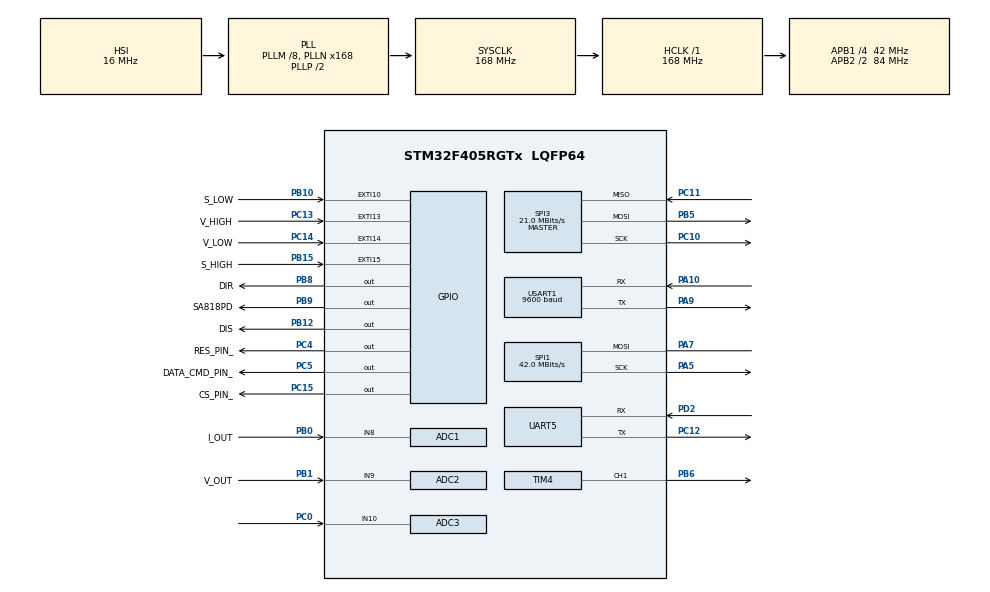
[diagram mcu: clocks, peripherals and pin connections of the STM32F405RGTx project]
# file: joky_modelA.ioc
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ADC1.Channel-1\#ChannelRegularConversion=ADC_CHANNEL_8
ADC1.NbrOfConversionFlag=1
ADC1.Rank-1\#ChannelRegularConversion=1
ADC1.SamplingTime-1\#ChannelRegularConversion=ADC_SAMPLETIME_3CYCLES
ADC1.master=1
ADC2.Channel-1\#ChannelRegularConversion=ADC_CHANNEL_9
ADC2.ClockPrescaler=ADC_CLOCK_SYNC_PCLK_DIV4
ADC2.NbrOfConversionFlag=1
ADC2.Rank-1\#ChannelRegularConversion=1
ADC2.SamplingTime-1\#ChannelRegularConversion=ADC_SAMPLETIME_3CYCLES
ADC3.Channel-1\#ChannelRegularConversion=ADC_CHANNEL_10
ADC3.NbrOfConversionFlag=1
ADC3.Rank-1\#ChannelRegularConversion=1
ADC3.SamplingTime-1\#ChannelRegularConversion=ADC_SAMPLETIME_3CYCLES
Mcu.Family=STM32F4
Mcu.Name=STM32F405RGTx
Mcu.Package=LQFP64
NVIC.EXTI15_10_IRQn=true\:0\:0\:false\:false\:true\:true\:true\:true
NVIC.PriorityGroup=NVIC_PRIORITYGROUP_4
NVIC.TIM2_IRQn=true\:0\:0\:false\:false\:true\:true\:true\:true
PA10.Mode=Asynchronous
PA10.Signal=USART1_RX
PA5.Mode=Simplex_Bidirectional_Master
PA5.Signal=SPI1_SCK
PA7.Mode=Simplex_Bidirectional_Master
PA7.Signal=SPI1_MOSI
PA9.Mode=Asynchronous
PA9.Signal=USART1_TX
PB0.GPIO_Label=I_OUT
PB0.Signal=ADCx_IN8
PB1.GPIO_Label=V_OUT
PB1.Signal=ADCx_IN9
PB10.GPIO_Label=S_LOW
PB10.Signal=GPXTI10
PB12.GPIO_Label=DIS
PB12.Signal=GPIO_Output
PB15.GPIO_Label=S_HIGH
PB15.Signal=GPXTI15
PB5.Mode=Full_Duplex_Master
PB5.Signal=SPI3_MOSI
PB6.Signal=S_TIM4_CH1
PB8.GPIO_Label=DIR
PB8.Signal=GPIO_Output
PB9.GPIO_Label=SA818PD
PB9.Signal=GPIO_Output
PC0.Signal=ADCx_IN10
PC10.Mode=Full_Duplex_Master
PC10.Signal=SPI3_SCK
PC11.Mode=Full_Duplex_Master
PC11.Signal=SPI3_MISO
PC12.Mode=Asynchronous
PC12.Signal=UART5_TX
PC13-ANTI_TAMP.GPIO_Label=V_HIGH
PC13-ANTI_TAMP.Signal=GPXTI13
PC14-OSC32_IN.GPIO_Label=V_LOW
PC14-OSC32_IN.Signal=GPXTI14
PC15-OSC32_OUT.GPIO_Label=CS_PIN_
PC15-OSC32_OUT.Signal=GPIO_Output
PC4.GPIO_Label=RES_PIN_
PC4.Signal=GPIO_Output
PC5.GPIO_Label=DATA_CMD_PIN_
PC5.Signal=GPIO_Output
PD2.Mode=Asynchronous
PD2.Signal=UART5_RX
ProjectManager.HeapSize=0x200
ProjectManager.StackSize=0x400
ProjectManager.TargetToolchain=STM32CubeIDE
RCC.48MHZClocksFreq_Value=84000000
RCC.AHBFreq_Value=168000000
RCC.APB1CLKDivider=RCC_HCLK_DIV4
RCC.APB1Freq_Value=42000000
RCC.APB1TimFreq_Value=84000000
RCC.APB2CLKDivider=RCC_HCLK_DIV2
RCC.APB2Freq_Value=84000000
RCC.APB2TimFreq_Value=168000000
RCC.CortexFreq_Value=168000000
RCC.HCLKFreq_Value=168000000
RCC.HSE_VALUE=25000000
RCC.HSI_VALUE=16000000
RCC.LSE_VALUE=32768
RCC.PLLM=8
RCC.PLLN=168
RCC.SYSCLKFreq_VALUE=168000000
RCC.SYSCLKSource=RCC_SYSCLKSOURCE_PLLCLK
RCC.VCOOutputFreq_Value=336000000
RCC.VDD_VALUE=3.3
SH.ADCx_IN10.0=ADC3_IN10,IN10
SH.ADCx_IN8.0=ADC1_IN8,IN8
SH.ADCx_IN9.0=ADC2_IN9,IN9
SH.S_TIM4_CH1.0=TIM4_CH1,PWM Generation1 CH1
SPI1.CalculateBaudRate=42.0 MBits/s
SPI1.Direction=SPI_DIRECTION_1LINE
SPI1.Mode=SPI_MODE_MASTER
SPI1.VirtualType=VM_MASTER
SPI3.BaudRatePrescaler=SPI_BAUDRATEPRESCALER_2
SPI3.CalculateBaudRate=21.0 MBits/s
SPI3.Direction=SPI_DIRECTION_2LINES
SPI3.Mode=SPI_MODE_MASTER
SPI3.VirtualType=VM_MASTER
TIM2.Period=50000
TIM2.Prescaler=18600
TIM4.Channel-PWM\ Generation1\ CH1=TIM_CHANNEL_1
TIM4.Period=255
TIM4.Prescaler=33-1
UART5.VirtualMode=Asynchronous
USART1.BaudRate=9600
USART1.VirtualMode=VM_ASYNC
VP_TIM2_VS_ClockSourceINT.Mode=Internal
board=custom

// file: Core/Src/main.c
/* USER CODE BEGIN Header */
/**
  ******************************************************************************
  * @file           : main.c
  * @brief          : Main program body
  ******************************************************************************
  * @attention
  *
  * Copyright (c) 2025 STMicroelectronics.
  * All rights reserved.
  *
  * This software is licensed under terms that can be found in the LICENSE file
  * in the root directory of this software component.
  * If no LICENSE file comes with this software, it is provided AS-IS.
  *
  ******************************************************************************
  */
/* USER CODE END Header */
#include "main.h"

/* USER CODE BEGIN Includes */
#include "SSD1309.h"
#include "tle9201.h"
#include "sa818s.h"
#include "string.h"
#include "ryrl898.h"
/* USER CODE END Includes */

/* USER CODE BEGIN PM */
#define BATTERY_CAPACITY_AH       2.5f       // 2500 mAh
#define ADC_VREF_VOLTAGE          3.3f       // Reference voltage of ADC
#define ADC_RESOLUTION            4096.0f    // 12-bit ADC
#define VCC_VOLTAGE               3.3f       // ACS712 supply voltage
#define ACS712_SENSITIVITY        0.100f     // V/A for ACS712-20A (100 mV/A)
#define ACS712_OFFSET_VOLTAGE     (VCC_VOLTAGE/2.0f) // zero current voltage
#define TIM2_TICK_PERIOD_S        1.0f       // Timer callback period in seconds

/* USER CODE END PM */

ADC_HandleTypeDef hadc1;
ADC_HandleTypeDef hadc2;
ADC_HandleTypeDef hadc3;

SPI_HandleTypeDef hspi1;
SPI_HandleTypeDef hspi3;

TIM_HandleTypeDef htim2;
TIM_HandleTypeDef htim4;

UART_HandleTypeDef huart5;
UART_HandleTypeDef huart1;

uint8_t soc_joky;
float ACS712_Current;
float ACS712_Voltage;
/* USER CODE BEGIN PV */

unsigned char devcode[] = "devcode:0x00";
unsigned char speed1[] = "speed xx V";
unsigned char speed2[] = "speed xx V";
unsigned char speed3[] = "speed xx V";
uint8_t motor_pwm_speed = 255;
uint8_t walkie_talkie_volume = 1; // Default volume level

/* USER CODE END PV */

void SystemClock_Config(void);
static void MX_GPIO_Init(void);
static void MX_ADC1_Init(void);
static void MX_ADC2_Init(void);
static void MX_UART5_Init(void);
static void MX_USART1_UART_Init(void);
static void MX_TIM2_Init(void);
static void MX_SPI3_Init(void);
static void MX_TIM4_Init(void);
static void MX_SPI1_Init(void);
static void MX_ADC3_Init(void);

/* USER CODE BEGIN 0 */
//void HAL_GPIO_EXTI_Callback(uint16_t GPIO_Pin)
//{
//    if(GPIO_Pin == GPIO_PIN_10)  // Check which pin triggered the EXTI
//    {
//    	//exti10 for speed low
//    	if(motor_pwm_speed > 100){
//    		motor_pwm_speed -= 15;
//    		TLE9201_SetSpeed(motor_pwm_speed);
//    	}
//
//    }
//    else if (GPIO_Pin == GPIO_PIN_15){
//    	//exti15 for speed high
//    	if (motor_pwm_speed <=(255-16)){
//    		motor_pwm_speed += 15;
//    		TLE9201_SetSpeed(motor_pwm_speed);
//    	}
//
//    }
//    else if(GPIO_Pin == GPIO_PIN_13){
//    	if(walkie_talkie_volume < 4){
//    		walkie_talkie_volume++;
//    		SA818S_SetVolume(walkie_talkie_volume);
//    	}
//
//    	//exti13 for sound volume high
//    }
//    else if(GPIO_Pin == GPIO_PIN_14){
//
//    	//exti14 for sound volume low
//    	if(walkie_talkie_volume >1){
//    		walkie_talkie_volume--;
//    		SA818S_SetVolume(walkie_talkie_volume);
//    	}
//    }
//
//}
void HAL_TIM_PeriodElapsedCallback(TIM_HandleTypeDef *htim)
{
    if (htim->Instance == TIM2)  // Check if the interrupt comes from TIM2
    {
        //HAL_GPIO_TogglePin(GPIOA, GPIO_PIN_5);  // Toggle LED on PA5
        //OLED update

      //calculate soc each 1 sec
    	// static uint8_t soc_temp;
    	// static float Remain_Cap = Total_Cap;
    	// ACS712_Current = (((HAL_ADC_GetValue(&hadc1)) - (Vcc/2)) / ACS712_Sensitivity);
    	// Remain_Cap += ACS712_Current;
    	// soc_joky = (Remain_Cap / Total_Cap) * 100;
    	// if(soc_joky != soc_temp)
    	// {
    		//Send the soc_joky only if it changed from the previous iteration.
        //....

    	// }

    	// soc_temp = soc_joky;
      // WriteText(1, 4, speed3);
      /*========================================================*/
              // Battery SOC calculation
        static float Remain_Cap = BATTERY_CAPACITY_AH; // assume full at boot
        static uint8_t soc_rc_temp = 255;              // force first update
        static uint8_t soc_joky_temp = 255;

        // Read current from ADC
        HAL_ADC_Start(&hadc1);
        HAL_ADC_PollForConversion(&hadc1, 10);
        uint16_t adc_val = HAL_ADC_GetValue(&hadc1);
        HAL_ADC_Stop(&hadc1);

        ACS712_Voltage = ((adc_val * ADC_VREF_VOLTAGE) / ADC_RESOLUTION);
        ACS712_Current = (ACS712_Voltage - ACS712_OFFSET_VOLTAGE) / ACS712_SENSITIVITY;

        // Integrate current to calculate remaining capacity (Ah)
        float delta_Ah = ACS712_Current * (TIM2_TICK_PERIOD_S / 3600.0f);
        Remain_Cap += delta_Ah;

        // Clamp capacity
        if(Remain_Cap > BATTERY_CAPACITY_AH) Remain_Cap = BATTERY_CAPACITY_AH;
        if(Remain_Cap < 0.0f) Remain_Cap = 0.0f;

        soc_joky = (Remain_Cap / BATTERY_CAPACITY_AH) * 100.0f;

    }
}

/* USER CODE END 0 */

int main(void)
{

  /* MCU Configuration--------------------------------------------------------*/

  /* Reset of all peripherals, Initializes the Flash interface and the Systick. */
  HAL_Init();

  /* Configure the system clock */
  SystemClock_Config();

  /* Initialize all configured peripherals */
  MX_GPIO_Init();
  MX_ADC1_Init();
  MX_ADC2_Init();
  MX_UART5_Init();
  MX_USART1_UART_Init();
  MX_TIM2_Init();
  MX_SPI3_Init();
  MX_TIM4_Init();
  MX_SPI1_Init();
  MX_ADC3_Init();

  /* USER CODE BEGIN 2 */
  TLE9201_Init();
  // SA818S_Init();
  lora_init();

  uint32_t adc_value;
  uint8_t cmd_received = 0;
//  uint8_t speed;

     // Start ADC
  HAL_ADC_Start(&hadc1);
  HAL_ADC_Start(&hadc2);
  HAL_ADC_Start(&hadc3);

  TLE9201_SetDirection(1);    // Forward
  TLE9201_SetSpeed(255);
  HAL_GPIO_WritePin(CS_PORT, CS_PIN, GPIO_PIN_SET);

  SSD1309_Reset();
  InitDisplay();
  ClearScreen();

  WriteText(1, 1, devcode);

  /* USER CODE END 2 */

  /* Infinite loop */
  while (1)
  {
	  HAL_ADC_PollForConversion(&hadc1, HAL_MAX_DELAY);
	          adc_value = HAL_ADC_GetValue(&hadc1);

	          // Divide ADC range into 3 equal sections
	          if (adc_value <= 1365) { // 0–1365 (4095/3)
	              WriteText(1, 2, speed1); // Speed 1
                TLE9201_SetSpeed(255); // Set speed to 255
              motor_pwm_speed = 255; // Set motor speed to maximum
	          } else if (adc_value <= 2730) { // 1366–2730
	        	  WriteText(1, 2, speed2); // Speed 2
              TLE9201_SetSpeed(200); // Set speed to 200
              motor_pwm_speed = 200; // Set motor speed to 200
	          } else { // 2731–4095
	        	  WriteText(1, 2, speed3); // Speed
              TLE9201_SetSpeed(170); // Set speed to 170
              motor_pwm_speed = 170; // Set motor speed to 170

	          }

//	  HAL_UART_Transmit(huart, pData, Size, Timeout)/
//      HAL_UART_Receive(&huart1, &uart_recive_buffer, 1, HAL_MAX_DELAY);  // Blocking receive
      cmd_received =lora_receive();
      lora_send_char(soc_joky);

      if (cmd_received == 'c') {
        TLE9201_SetSpeed(motor_pwm_speed); // Set motor speed to current PWM speed

      }
      else if (cmd_received == 'd') {
          // HAL_GPIO_WritePin(MOTOR_GPIO_Port, MOTOR_Pin, GPIO_PIN_SET);
          TLE9201_SetSpeed(motor_pwm_speed); // Stop the motor
          HAL_Delay(4000);
          TLE9201_SetSpeed(0); // Set speed to 0
      }
      else {
        TLE9201_SetSpeed(0); // Set speed to 0
        // HAL_GPIO_WritePin(MOTOR_GPIO_Port, MOTOR_Pin, GPIO_PIN_RESET);
      }
  }
}

void SystemClock_Config(void)
{
  RCC_OscInitTypeDef RCC_OscInitStruct = {0};
  RCC_ClkInitTypeDef RCC_ClkInitStruct = {0};

  /** Configure the main internal regulator output voltage
  */
  __HAL_RCC_PWR_CLK_ENABLE();
  __HAL_PWR_VOLTAGESCALING_CONFIG(PWR_REGULATOR_VOLTAGE_SCALE1);

  /** Initializes the RCC Oscillators according to the specified parameters
  * in the RCC_OscInitTypeDef structure.
  */
  RCC_OscInitStruct.OscillatorType = RCC_OSCILLATORTYPE_HSI;
  RCC_OscInitStruct.HSIState = RCC_HSI_ON;
  RCC_OscInitStruct.HSICalibrationValue = RCC_HSICALIBRATION_DEFAULT;
  RCC_OscInitStruct.PLL.PLLState = RCC_PLL_ON;
  RCC_OscInitStruct.PLL.PLLSource = RCC_PLLSOURCE_HSI;
  RCC_OscInitStruct.PLL.PLLM = 8;
  RCC_OscInitStruct.PLL.PLLN = 168;
  RCC_OscInitStruct.PLL.PLLP = RCC_PLLP_DIV2;
  RCC_OscInitStruct.PLL.PLLQ = 4;
  if (HAL_RCC_OscConfig(&RCC_OscInitStruct) != HAL_OK)
  {
    Error_Handler();
  }

  /** Initializes the CPU, AHB and APB buses clocks
  */
  RCC_ClkInitStruct.ClockType = RCC_CLOCKTYPE_HCLK|RCC_CLOCKTYPE_SYSCLK
                              |RCC_CLOCKTYPE_PCLK1|RCC_CLOCKTYPE_PCLK2;
  RCC_ClkInitStruct.SYSCLKSource = RCC_SYSCLKSOURCE_PLLCLK;
  RCC_ClkInitStruct.AHBCLKDivider = RCC_SYSCLK_DIV1;
  RCC_ClkInitStruct.APB1CLKDivider = RCC_HCLK_DIV4;
  RCC_ClkInitStruct.APB2CLKDivider = RCC_HCLK_DIV2;

  if (HAL_RCC_ClockConfig(&RCC_ClkInitStruct, FLASH_LATENCY_5) != HAL_OK)
  {
    Error_Handler();
  }
}

static void MX_ADC1_Init(void)
{

  ADC_ChannelConfTypeDef sConfig = {0};

  /** Configure the global features of the ADC (Clock, Resolution, Data Alignment and number of conversion)
  */
  hadc1.Instance = ADC1;
  hadc1.Init.ClockPrescaler = ADC_CLOCK_SYNC_PCLK_DIV4;
  hadc1.Init.Resolution = ADC_RESOLUTION_12B;
  hadc1.Init.ScanConvMode = DISABLE;
  hadc1.Init.ContinuousConvMode = DISABLE;
  hadc1.Init.DiscontinuousConvMode = DISABLE;
  hadc1.Init.ExternalTrigConvEdge = ADC_EXTERNALTRIGCONVEDGE_NONE;
  hadc1.Init.ExternalTrigConv = ADC_SOFTWARE_START;
  hadc1.Init.DataAlign = ADC_DATAALIGN_RIGHT;
  hadc1.Init.NbrOfConversion = 1;
  hadc1.Init.DMAContinuousRequests = DISABLE;
  hadc1.Init.EOCSelection = ADC_EOC_SINGLE_CONV;
  if (HAL_ADC_Init(&hadc1) != HAL_OK)
  {
    Error_Handler();
  }

  /** Configure for the selected ADC regular channel its corresponding rank in the sequencer and its sample time.
  */
  sConfig.Channel = ADC_CHANNEL_8;
  sConfig.Rank = 1;
  sConfig.SamplingTime = ADC_SAMPLETIME_3CYCLES;
  if (HAL_ADC_ConfigChannel(&hadc1, &sConfig) != HAL_OK)
  {
    Error_Handler();
  }

}

static void MX_ADC2_Init(void)
{

  ADC_ChannelConfTypeDef sConfig = {0};

  /** Configure the global features of the ADC (Clock, Resolution, Data Alignment and number of conversion)
  */
  hadc2.Instance = ADC2;
  hadc2.Init.ClockPrescaler = ADC_CLOCK_SYNC_PCLK_DIV4;
  hadc2.Init.Resolution = ADC_RESOLUTION_12B;
  hadc2.Init.ScanConvMode = DISABLE;
  hadc2.Init.ContinuousConvMode = DISABLE;
  hadc2.Init.DiscontinuousConvMode = DISABLE;
  hadc2.Init.ExternalTrigConvEdge = ADC_EXTERNALTRIGCONVEDGE_NONE;
  hadc2.Init.ExternalTrigConv = ADC_SOFTWARE_START;
  hadc2.Init.DataAlign = ADC_DATAALIGN_RIGHT;
  hadc2.Init.NbrOfConversion = 1;
  hadc2.Init.DMAContinuousRequests = DISABLE;
  hadc2.Init.EOCSelection = ADC_EOC_SINGLE_CONV;
  if (HAL_ADC_Init(&hadc2) != HAL_OK)
  {
    Error_Handler();
  }

  /** Configure for the selected ADC regular channel its corresponding rank in the sequencer and its sample time.
  */
  sConfig.Channel = ADC_CHANNEL_9;
  sConfig.Rank = 1;
  sConfig.SamplingTime = ADC_SAMPLETIME_3CYCLES;
  if (HAL_ADC_ConfigChannel(&hadc2, &sConfig) != HAL_OK)
  {
    Error_Handler();
  }

}

static void MX_ADC3_Init(void)
{

  ADC_ChannelConfTypeDef sConfig = {0};

  /** Configure the global features of the ADC (Clock, Resolution, Data Alignment and number of conversion)
  */
  hadc3.Instance = ADC3;
  hadc3.Init.ClockPrescaler = ADC_CLOCK_SYNC_PCLK_DIV4;
  hadc3.Init.Resolution = ADC_RESOLUTION_12B;
  hadc3.Init.ScanConvMode = DISABLE;
  hadc3.Init.ContinuousConvMode = DISABLE;
  hadc3.Init.DiscontinuousConvMode = DISABLE;
  hadc3.Init.ExternalTrigConvEdge = ADC_EXTERNALTRIGCONVEDGE_NONE;
  hadc3.Init.ExternalTrigConv = ADC_SOFTWARE_START;
  hadc3.Init.DataAlign = ADC_DATAALIGN_RIGHT;
  hadc3.Init.NbrOfConversion = 1;
  hadc3.Init.DMAContinuousRequests = DISABLE;
  hadc3.Init.EOCSelection = ADC_EOC_SINGLE_CONV;
  if (HAL_ADC_Init(&hadc3) != HAL_OK)
  {
    Error_Handler();
  }

  /** Configure for the selected ADC regular channel its corresponding rank in the sequencer and its sample time.
  */
  sConfig.Channel = ADC_CHANNEL_10;
  sConfig.Rank = 1;
  sConfig.SamplingTime = ADC_SAMPLETIME_3CYCLES;
  if (HAL_ADC_ConfigChannel(&hadc3, &sConfig) != HAL_OK)
  {
    Error_Handler();
  }

}

static void MX_SPI1_Init(void)
{

  /* SPI1 parameter configuration*/
  hspi1.Instance = SPI1;
  hspi1.Init.Mode = SPI_MODE_MASTER;
  hspi1.Init.Direction = SPI_DIRECTION_1LINE;
  hspi1.Init.DataSize = SPI_DATASIZE_8BIT;
  hspi1.Init.CLKPolarity = SPI_POLARITY_LOW;
  hspi1.Init.CLKPhase = SPI_PHASE_1EDGE;
  hspi1.Init.NSS = SPI_NSS_SOFT;
  hspi1.Init.BaudRatePrescaler = SPI_BAUDRATEPRESCALER_2;
  hspi1.Init.FirstBit = SPI_FIRSTBIT_MSB;
  hspi1.Init.TIMode = SPI_TIMODE_DISABLE;
  hspi1.Init.CRCCalculation = SPI_CRCCALCULATION_DISABLE;
  hspi1.Init.CRCPolynomial = 10;
  if (HAL_SPI_Init(&hspi1) != HAL_OK)
  {
    Error_Handler();
  }

}

static void MX_SPI3_Init(void)
{

  /* SPI3 parameter configuration*/
  hspi3.Instance = SPI3;
  hspi3.Init.Mode = SPI_MODE_MASTER;
  hspi3.Init.Direction = SPI_DIRECTION_2LINES;
  hspi3.Init.DataSize = SPI_DATASIZE_8BIT;
  hspi3.Init.CLKPolarity = SPI_POLARITY_LOW;
  hspi3.Init.CLKPhase = SPI_PHASE_1EDGE;
  hspi3.Init.NSS = SPI_NSS_SOFT;
  hspi3.Init.BaudRatePrescaler = SPI_BAUDRATEPRESCALER_2;
  hspi3.Init.FirstBit = SPI_FIRSTBIT_MSB;
  hspi3.Init.TIMode = SPI_TIMODE_DISABLE;
  hspi3.Init.CRCCalculation = SPI_CRCCALCULATION_DISABLE;
  hspi3.Init.CRCPolynomial = 10;
  if (HAL_SPI_Init(&hspi3) != HAL_OK)
  {
    Error_Handler();
  }

}

static void MX_TIM2_Init(void)
{

  TIM_ClockConfigTypeDef sClockSourceConfig = {0};
  TIM_MasterConfigTypeDef sMasterConfig = {0};

  htim2.Instance = TIM2;
  htim2.Init.Prescaler = 18600;
  htim2.Init.CounterMode = TIM_COUNTERMODE_UP;
  htim2.Init.Period = 10000;
  htim2.Init.ClockDivision = TIM_CLOCKDIVISION_DIV1;
  htim2.Init.AutoReloadPreload = TIM_AUTORELOAD_PRELOAD_DISABLE;
  if (HAL_TIM_Base_Init(&htim2) != HAL_OK)
  {
    Error_Handler();
  }
  sClockSourceConfig.ClockSource = TIM_CLOCKSOURCE_INTERNAL;
  if (HAL_TIM_ConfigClockSource(&htim2, &sClockSourceConfig) != HAL_OK)
  {
    Error_Handler();
  }
  sMasterConfig.MasterOutputTrigger = TIM_TRGO_RESET;
  sMasterConfig.MasterSlaveMode = TIM_MASTERSLAVEMODE_DISABLE;
  if (HAL_TIMEx_MasterConfigSynchronization(&htim2, &sMasterConfig) != HAL_OK)
  {
    Error_Handler();
  }

}

static void MX_TIM4_Init(void)
{

  TIM_MasterConfigTypeDef sMasterConfig = {0};
  TIM_OC_InitTypeDef sConfigOC = {0};

  htim4.Instance = TIM4;
  htim4.Init.Prescaler = 33-1;
  htim4.Init.CounterMode = TIM_COUNTERMODE_UP;
  htim4.Init.Period = 255;
  htim4.Init.ClockDivision = TIM_CLOCKDIVISION_DIV1;
  htim4.Init.AutoReloadPreload = TIM_AUTORELOAD_PRELOAD_DISABLE;
  if (HAL_TIM_PWM_Init(&htim4) != HAL_OK)
  {
    Error_Handler();
  }
  sMasterConfig.MasterOutputTrigger = TIM_TRGO_RESET;
  sMasterConfig.MasterSlaveMode = TIM_MASTERSLAVEMODE_DISABLE;
  if (HAL_TIMEx_MasterConfigSynchronization(&htim4, &sMasterConfig) != HAL_OK)
  {
    Error_Handler();
  }
  sConfigOC.OCMode = TIM_OCMODE_PWM1;
  sConfigOC.Pulse = 0;
  sConfigOC.OCPolarity = TIM_OCPOLARITY_HIGH;
  sConfigOC.OCFastMode = TIM_OCFAST_DISABLE;
  if (HAL_TIM_PWM_ConfigChannel(&htim4, &sConfigOC, TIM_CHANNEL_1) != HAL_OK)
  {
    Error_Handler();
  }
  HAL_TIM_MspPostInit(&htim4);

}

static void MX_UART5_Init(void)
{

  huart5.Instance = UART5;
  huart5.Init.BaudRate = 115200;
  huart5.Init.WordLength = UART_WORDLENGTH_8B;
  huart5.Init.StopBits = UART_STOPBITS_1;
  huart5.Init.Parity = UART_PARITY_NONE;
  huart5.Init.Mode = UART_MODE_TX_RX;
  huart5.Init.HwFlowCtl = UART_HWCONTROL_NONE;
  huart5.Init.OverSampling = UART_OVERSAMPLING_16;
  if (HAL_UART_Init(&huart5) != HAL_OK)
  {
    Error_Handler();
  }

}

static void MX_USART1_UART_Init(void)
{

  huart1.Instance = USART1;
  huart1.Init.BaudRate = 9600;
  huart1.Init.WordLength = UART_WORDLENGTH_8B;
  huart1.Init.StopBits = UART_STOPBITS_1;
  huart1.Init.Parity = UART_PARITY_NONE;
  huart1.Init.Mode = UART_MODE_TX_RX;
  huart1.Init.HwFlowCtl = UART_HWCONTROL_NONE;
  huart1.Init.OverSampling = UART_OVERSAMPLING_16;
  if (HAL_UART_Init(&huart1) != HAL_OK)
  {
    Error_Handler();
  }

}

static void MX_GPIO_Init(void)
{
  GPIO_InitTypeDef GPIO_InitStruct = {0};

  /* GPIO Ports Clock Enable */
  __HAL_RCC_GPIOC_CLK_ENABLE();
  __HAL_RCC_GPIOA_CLK_ENABLE();
  __HAL_RCC_GPIOB_CLK_ENABLE();
  __HAL_RCC_GPIOD_CLK_ENABLE();

  /*Configure GPIO pin Output Level */
  HAL_GPIO_WritePin(GPIOC, CS_PIN__Pin|RES_PIN__Pin|DATA_CMD_PIN__Pin, GPIO_PIN_RESET);

  /*Configure GPIO pin Output Level */
  HAL_GPIO_WritePin(GPIOB, DIS_Pin|DIR_Pin|SA818PD_Pin, GPIO_PIN_RESET);

  /*Configure GPIO pins : V_HIGH_Pin V_LOW_Pin */
  GPIO_InitStruct.Pin = V_HIGH_Pin|V_LOW_Pin;
  GPIO_InitStruct.Mode = GPIO_MODE_IT_RISING;
  GPIO_InitStruct.Pull = GPIO_NOPULL;
  HAL_GPIO_Init(GPIOC, &GPIO_InitStruct);

  /*Configure GPIO pins : CS_PIN__Pin RES_PIN__Pin DATA_CMD_PIN__Pin */
  GPIO_InitStruct.Pin = CS_PIN__Pin|RES_PIN__Pin|DATA_CMD_PIN__Pin;
  GPIO_InitStruct.Mode = GPIO_MODE_OUTPUT_PP;
  GPIO_InitStruct.Pull = GPIO_NOPULL;
  GPIO_InitStruct.Speed = GPIO_SPEED_FREQ_LOW;
  HAL_GPIO_Init(GPIOC, &GPIO_InitStruct);

  /*Configure GPIO pins : S_LOW_Pin S_HIGH_Pin */
  GPIO_InitStruct.Pin = S_LOW_Pin|S_HIGH_Pin;
  GPIO_InitStruct.Mode = GPIO_MODE_IT_RISING;
  GPIO_InitStruct.Pull = GPIO_NOPULL;
  HAL_GPIO_Init(GPIOB, &GPIO_InitStruct);

  /*Configure GPIO pins : DIS_Pin DIR_Pin SA818PD_Pin */
  GPIO_InitStruct.Pin = DIS_Pin|DIR_Pin|SA818PD_Pin;
  GPIO_InitStruct.Mode = GPIO_MODE_OUTPUT_PP;
  GPIO_InitStruct.Pull = GPIO_NOPULL;
  GPIO_InitStruct.Speed = GPIO_SPEED_FREQ_LOW;
  HAL_GPIO_Init(GPIOB, &GPIO_InitStruct);

  /* EXTI interrupt init*/
  HAL_NVIC_SetPriority(EXTI15_10_IRQn, 0, 0);
  HAL_NVIC_EnableIRQ(EXTI15_10_IRQn);

}

void Error_Handler(void)
{
  __disable_irq();
  while (1)
  {
  }
}
